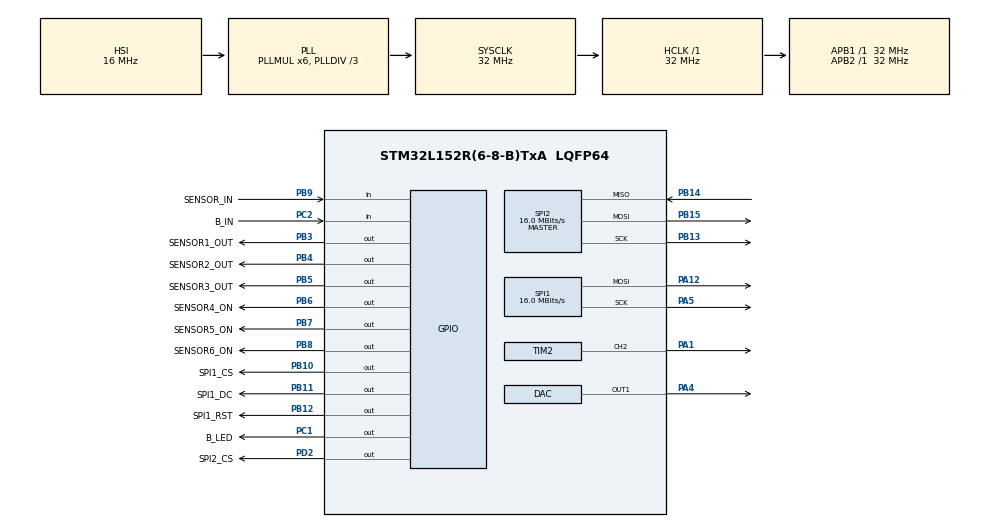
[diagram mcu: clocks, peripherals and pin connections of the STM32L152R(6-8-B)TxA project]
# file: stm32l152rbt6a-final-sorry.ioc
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DAC.DAC_Trigger=DAC_TRIGGER_T6_TRGO
Dma.DAC_CH1.1.Direction=DMA_MEMORY_TO_PERIPH
Dma.DAC_CH1.1.Instance=DMA1_Channel2
Dma.DAC_CH1.1.MemDataAlignment=DMA_MDATAALIGN_HALFWORD
Dma.DAC_CH1.1.MemInc=DMA_MINC_ENABLE
Dma.DAC_CH1.1.Mode=DMA_NORMAL
Dma.DAC_CH1.1.PeriphDataAlignment=DMA_PDATAALIGN_HALFWORD
Dma.DAC_CH1.1.PeriphInc=DMA_PINC_DISABLE
Dma.DAC_CH1.1.Priority=DMA_PRIORITY_LOW
Dma.Request0=SPI1_TX
Dma.Request1=DAC_CH1
Dma.Request2=TIM2_CH2/CH4
Dma.SPI1_TX.0.Direction=DMA_MEMORY_TO_PERIPH
Dma.SPI1_TX.0.Instance=DMA1_Channel3
Dma.SPI1_TX.0.MemDataAlignment=DMA_MDATAALIGN_BYTE
Dma.SPI1_TX.0.MemInc=DMA_MINC_ENABLE
Dma.SPI1_TX.0.Mode=DMA_NORMAL
Dma.SPI1_TX.0.PeriphDataAlignment=DMA_PDATAALIGN_BYTE
Dma.SPI1_TX.0.PeriphInc=DMA_PINC_DISABLE
Dma.SPI1_TX.0.Priority=DMA_PRIORITY_LOW
Dma.TIM2_CH2/CH4.2.Direction=DMA_MEMORY_TO_PERIPH
Dma.TIM2_CH2/CH4.2.Instance=DMA1_Channel7
Dma.TIM2_CH2/CH4.2.MemDataAlignment=DMA_MDATAALIGN_WORD
Dma.TIM2_CH2/CH4.2.MemInc=DMA_MINC_ENABLE
Dma.TIM2_CH2/CH4.2.Mode=DMA_NORMAL
Dma.TIM2_CH2/CH4.2.PeriphDataAlignment=DMA_PDATAALIGN_WORD
Dma.TIM2_CH2/CH4.2.PeriphInc=DMA_PINC_DISABLE
Dma.TIM2_CH2/CH4.2.Priority=DMA_PRIORITY_LOW
FATFS._MAX_SS=4096
FATFS._USE_LFN=1
Mcu.Family=STM32L1
Mcu.Name=STM32L152R(6-8-B)TxA
Mcu.Package=LQFP64
NVIC.DMA1_Channel2_IRQn=true\:0\:0\:false\:false\:true\:false\:true\:true
NVIC.DMA1_Channel3_IRQn=true\:0\:0\:false\:false\:true\:false\:true\:true
NVIC.DMA1_Channel7_IRQn=true\:0\:0\:false\:false\:true\:false\:true\:true
NVIC.PriorityGroup=NVIC_PRIORITYGROUP_4
NVIC.TIM7_IRQn=true\:0\:0\:false\:false\:true\:true\:true\:true
PA1.Signal=S_TIM2_CH2
PA12.Mode=TX_Only_Simplex_Unidirect_Master
PA12.Signal=SPI1_MOSI
PA13.GPIO_Label=SWDIO
PA13.Mode=Serial_Wire
PA13.Signal=SYS_JTMS-SWDIO
PA14.GPIO_Label=SWCLK
PA14.Mode=Serial_Wire
PA14.Signal=SYS_JTCK-SWCLK
PA4.Signal=COMP_DAC1_group
PA5.Mode=TX_Only_Simplex_Unidirect_Master
PA5.Signal=SPI1_SCK
PB10.GPIO_Label=SPI1_CS
PB10.Signal=GPIO_Output
PB11.GPIO_Label=SPI1_DC
PB11.Signal=GPIO_Output
PB12.GPIO_Label=SPI1_RST
PB12.Signal=GPIO_Output
PB13.Mode=Full_Duplex_Master
PB13.Signal=SPI2_SCK
PB14.Mode=Full_Duplex_Master
PB14.Signal=SPI2_MISO
PB15.Mode=Full_Duplex_Master
PB15.Signal=SPI2_MOSI
PB3.GPIO_Label=SENSOR1_OUT
PB3.Signal=GPIO_Output
PB4.GPIO_Label=SENSOR2_OUT
PB4.Signal=GPIO_Output
PB5.GPIO_Label=SENSOR3_OUT
PB5.Signal=GPIO_Output
PB6.GPIO_Label=SENSOR4_ON
PB6.Signal=GPIO_Output
PB7.GPIO_Label=SENSOR5_ON
PB7.Signal=GPIO_Output
PB8.GPIO_Label=SENSOR6_ON
PB8.Signal=GPIO_Output
PB9.GPIO_Label=SENSOR_IN
PB9.Signal=GPIO_Input
PC1.GPIO_Label=B_LED
PC1.Signal=GPIO_Output
PC2.GPIO_Label=B_IN
PC2.Signal=GPIO_Input
PD2.GPIO_Label=SPI2_CS
PD2.Signal=GPIO_Output
ProjectManager.HeapSize=0x200
ProjectManager.StackSize=0x400
ProjectManager.TargetToolchain=STM32CubeIDE
RCC.48MHZClocksFreq_Value=48000000
RCC.AHBFreq_Value=32000000
RCC.APB1Freq_Value=32000000
RCC.APB1TimFreq_Value=32000000
RCC.APB2Freq_Value=32000000
RCC.APB2TimFreq_Value=32000000
RCC.HCLKFreq_Value=32000000
RCC.HSE_VALUE=24000000
RCC.HSI_VALUE=16000000
RCC.LSE_VALUE=32768
RCC.MSI_VALUE=2097000
RCC.PLLDIV=RCC_PLL_DIV3
RCC.PLLMUL=RCC_PLL_MUL6
RCC.SYSCLKFreq_VALUE=32000000
RCC.SYSCLKSource=RCC_SYSCLKSOURCE_PLLCLK
RCC.VCOOutputFreq_Value=96000000
SH.COMP_DAC1_group.0=DAC_OUT1,DAC_OUT1
SH.S_TIM2_CH2.0=TIM2_CH2,PWM Generation2 CH2
SPI1.CalculateBaudRate=16.0 MBits/s
SPI1.Direction=SPI_DIRECTION_2LINES
SPI1.Mode=SPI_MODE_MASTER
SPI1.VirtualType=VM_MASTER
SPI2.CalculateBaudRate=16.0 MBits/s
SPI2.Direction=SPI_DIRECTION_2LINES
SPI2.Mode=SPI_MODE_MASTER
SPI2.VirtualType=VM_MASTER
TIM2.Channel-PWM\ Generation2\ CH2=TIM_CHANNEL_2
TIM2.Period=40-1
TIM6.Period=2000-1
TIM6.Prescaler=1-1
TIM6.TIM_MasterOutputTrigger=TIM_TRGO_UPDATE
TIM7.Period=500-1
TIM7.Prescaler=32000-1
VP_FATFS_VS_Generic.Mode=User_defined
VP_TIM2_VS_ClockSourceINT.Mode=Internal
VP_TIM6_VS_ClockSourceINT.Mode=Enable_Timer
VP_TIM7_VS_ClockSourceINT.Mode=Enable_Timer
board=custom

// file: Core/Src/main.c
/* USER CODE BEGIN Header */
/**
  ******************************************************************************
  * @file           : main.c
  * @brief          : Main program body
  ******************************************************************************
  * @attention
  *
  * Copyright (c) 2022 STMicroelectronics.
  * All rights reserved.
  *
  * This software is licensed under terms that can be found in the LICENSE file
  * in the root directory of this software component.
  * If no LICENSE file comes with this software, it is provided AS-IS.
  *
  ******************************************************************************
  */
/* USER CODE END Header */
#include "main.h"
#include "fatfs.h"

/* USER CODE BEGIN Includes */
//LCD and Button
#include "ILI9341_STM32_Driver.h"
#include "LCD_Button.h"
//Audio
#include "audio.h"
//LEDs
#include "LED.h"
//Game
#include "game.h"
//Standard Libraries
#include <string.h>
#include <math.h>
#include <stdio.h>
#include <stdbool.h>
/* USER CODE END Includes */

 DAC_HandleTypeDef hdac;
DMA_HandleTypeDef hdma_dac_ch1;

SPI_HandleTypeDef hspi1;
SPI_HandleTypeDef hspi2;
DMA_HandleTypeDef hdma_spi1_tx;

TIM_HandleTypeDef htim2;
TIM_HandleTypeDef htim6;
TIM_HandleTypeDef htim7;
DMA_HandleTypeDef hdma_tim2_ch2_ch4;

/* USER CODE BEGIN PV */
//Button
int count = 0;
int card = 0;
//LCD
extern const Picture *sorry_logo;
char *cards[] = {"sorry_0_16.bmp", "sorry_1_16.bmp", "sorry_2_16.bmp", "sorry_3_16.bmp", "sorry_4_16.bmp",
		            "sorry_5_16.bmp", "sorry_6_16.bmp", "sorry_7_16.bmp", "sorry_8_16.bmp", "sorry_9_16.bmp",
					"sorry_10_16.bmp"};
//SD Card
FATFS fs;
FIL fil;
FRESULT fres;
//Audio
char *audio_cards[] = {"sorry0audio.wav", "sorry1audio.wav", "sorry2audio.wav", "sorry3audio.wav", "sorry4audio.wav",
		"sorry5audio.wav", "sorry6audio.wav", "sorry7audio.wav", "sorry8audio.wav", "sorry9audio.wav", "sorry10audio.wav"};
/* USER CODE END PV */

void SystemClock_Config(void);
static void MX_GPIO_Init(void);
static void MX_DMA_Init(void);
static void MX_SPI1_Init(void);
static void MX_SPI2_Init(void);
static void MX_DAC_Init(void);
static void MX_TIM6_Init(void);
static void MX_TIM2_Init(void);
static void MX_TIM7_Init(void);

/* USER CODE BEGIN 0 */
uint16_t wav440Hz[] = {
		  0x07ff, 0x083f, 0x087e, 0x08be, 0x08fc, 0x093a, 0x0976, 0x09b1, 0x09ea, 0x0a22, 0x0a57, 0x0a89, 0x0aba, 0x0ae7, 0x0b11, 0x0b39,
		  0x0b5d, 0x0b7e, 0x0b9b, 0x0bb5, 0x0bcb, 0x0bdd, 0x0beb, 0x0bf5, 0x0bfb, 0x0bfd, 0x0bfc, 0x0bf6, 0x0bec, 0x0bde, 0x0bcd, 0x0bb7,
		  0x0b9e, 0x0b81, 0x0b61, 0x0b3d, 0x0b16, 0x0aec, 0x0abf, 0x0a8f, 0x0a5d, 0x0a28, 0x09f1, 0x09b8, 0x097d, 0x0941, 0x0903, 0x08c5,
		  0x0886, 0x0846, 0x0806, 0x07c7, 0x0787, 0x0747, 0x0709, 0x06cb, 0x068f, 0x0653, 0x061a, 0x05e3, 0x05ad, 0x057a, 0x054a, 0x051c,
		  0x04f1, 0x04c9, 0x04a5, 0x0484, 0x0466, 0x044c, 0x0436, 0x0423, 0x0415, 0x040a, 0x0403, 0x0401, 0x0402, 0x0407, 0x0411, 0x041e,
		  0x042f, 0x0444, 0x045d, 0x0479, 0x0499, 0x04bd, 0x04e3, 0x050d, 0x053a, 0x0569, 0x059c, 0x05d0, 0x0607, 0x0640, 0x067a, 0x06b6,
		  0x06f4, 0x0732, 0x0771, 0x07b1,
};

//Sensors
int array[64] = {1,1,1,1,1,1,1,1,1,1,1,1,1,1,1,1,1,1,1,1,1,1,1,1,1,1,1,1,1,1,1,1,1,1,1,1,1,1,1,1,1,1,1,1,1,1,1,1,1,1,1,1,1,1,1,1,1,1,1,1,1,1,1,1};
int answer_sensor;
//LEDs
char toggle;
int led_status;
int yes = 0;

void HAL_TIM_PeriodElapsedCallback(TIM_HandleTypeDef *htim) {
	if (htim->Instance == TIM7) {
		if (led_status == 1) {
			HAL_GPIO_TogglePin(GPIOC, GPIO_PIN_1); //blink LED
			//Send_LED();
			//yes = 2;
		} else if (led_status == 2) {
			Send_LED();
			led_status = 3;
		} else if (led_status == 3) {
			Send_LED_OFF();
			led_status = 2;
		} else if (led_status == 4) {
			Send_LED();
		}
		Increment_Count();
	}
}
/* USER CODE END 0 */

int main(void)
{

  /* MCU Configuration--------------------------------------------------------*/

  /* Reset of all peripherals, Initializes the Flash interface and the Systick. */
  HAL_Init();

  /* Configure the system clock */
  SystemClock_Config();

  /* Initialize all configured peripherals */
  MX_GPIO_Init();
  MX_DMA_Init();
  MX_SPI1_Init();
  MX_SPI2_Init();
  MX_FATFS_Init();
  MX_DAC_Init();
  MX_TIM6_Init();
  MX_TIM2_Init();
  MX_TIM7_Init();
  /* USER CODE BEGIN 2 */

  //Inits
  HAL_TIM_Base_Start(&htim6); //Audio
  HAL_TIM_Base_Start_IT(&htim7);
  //Blinking with 1Hz
  //Testing sine wave: uncomment, change to circular DMA, change sampling frequency to 44100 (726-1)
  //HAL_DAC_Start(&hdac, DAC_CHANNEL_1);
  //HAL_DAC_Start_DMA(&hdac, DAC_CHANNEL_1, (uint32_t *)wav440Hz, 100, DAC_ALIGN_12B_R); //48
  ILI9341_Init(); //LCD
  HAL_Delay(500);
  //All LEDs
  LED_Init(); //WS2812B
  led_status = 0; //Push Button

  //Setup logo
  ILI9341_SetRotation(SCREEN_HORIZONTAL_2);
  ILI9341_FillScreen(WHITE);
  ILI9341_DrawPicture(10,75,(const Picture *)&sorry_logo);
  Button_Wait(BLACK, WHITE);

  //Game
  int turn;
  /*
  int pawns[4][4] = {{44, 45, 46, 47},
                     {44, 45, 46, 47},
                     {44, 45, 46, 47},
                     {44, 45, 46, 47}};
*/
  extern int pawns[4][4];
  extern pawn_t pawns_init[4];
  extern bool endgame;
  extern bool done[4];
  int start[4] = {4, 4, 4, 4};
  int home[4]  = {0, 0, 0, 0};
  int colorlcd[4] = {RED, YELLOW, GREEN, BLUE};
  extern int led[64];
  extern int led_num;
  int test_num = 0;
  int test[16] = {1, 2, 1, 2, 6, 6, 6, 6};

  turn = 0;
  initialize_board();
  populate_led_array();
  led_status = 4;
  Audio_Card("sorry_bump.wav");
  /* USER CODE END 2 */

  /* Infinite loop */
  /* USER CODE BEGIN WHILE */
  while (1)
  {
	  //Sensor
	  //answer_sensor = change_det(array);
	  ILI9341_FillScreen(colorlcd[turn]);
	  HAL_Delay(250);
	  Button_Wait(BLACK, colorlcd[turn]);
	  //card = Generate_Random();
	  card = test[test_num];
	  Display_Card(cards[card]);
	  Audio_Card(audio_cards[card]);
	  //int check_seven = 0;

begin:
	zero_led(0);
	led_num = 0;
	int curr_loc;
	curr_loc = 0;
	//Populate array with current pawn positions
	    for (int i = 0; i < 4; i++) {
	        led[led_num] = pawns[i][turn];
	        led_num++;
	    }
	//Populate array with possible pawn positions
	if (card == 1 || card == 2) {
        if (start[turn] != 0 && !pos_occ(pawns_init[turn].after_start, turn)) {
            led[led_num] = pawns_init[turn].after_start;
            led_num++;
        }
    }
    if (card == 1 || card == 2 || card == 3 || card == 5 || card == 8 || card == 9) {
        increment_card(card, curr_loc, turn);
    } else if (card == 4) {
        decrement_card(card, curr_loc, turn);
    } else if (card == 10) {
        increment_card(card, curr_loc, turn);
        decrement_card(1, curr_loc, turn); //backwards 1
    } else if (card == 0) { //sorry card
    	if (start[turn] == 0)
    		break;
    	for (int i = 0; i < 4; i++) {
    	   if (i == turn)
    	      continue;
         	for (int j = 0; j < 4; j++) {
    	      if (pawns[j][i] <= 43 && pawns[j][i] >= 0) {
    	    	led[led_num++] = pawns[j][i];
    	      }
    	    }
    	}
    } else if (card == 6 && start[turn] != 4) {
    	increment_card(card, curr_loc, turn);
    	for (int i = 0; i < 4; i++) {
    	    if (i == turn)
    	    	 continue;
    	    for (int j = 0; j < 4; j++) {
    	    	 if (pawns[j][i] <= 43 && pawns[j][i] >= 0) {
    	    	   	led[led_num++] = pawns[j][i];
    	         }
      	    }
       	}
    } else if (card == 7 && start[turn] != 4) {
    	/*
    	if (start[turn] == 3) //1 pawn is out
    		increment(card, curr_loc, turn);
    	else if (start[turn] == 2) { //more than two pawns are out
    		for (int j = 0)
    	}*/
    }

    //No possible moves
    if (led_num == 4) {
    	Audio_Card("nomoves.wav");
        goto next_turn;
    }

    //Display LEDs
    print_led(led_num, turn);

    int change;
    int put_back;
    //Wait for pawn to be lifted
move_pawn:
    change = change_det(array);

    //Check valid sensor
    if (!valid_lift(change)) {
wrong_put_back:
		Audio_Card("incorrectmove.wav");
		HAL_Delay(500);
        //Place pawn back
put_pawn_back:
        put_back = change_det(array);
        if (put_back != change)
            goto wrong_put_back;
        else
            goto move_pawn;
    }

    //Check which pawn moved
    int pawn_change;
    for (pawn_change = 0; pawn_change < 4; pawn_change++) {
        if (pawns[pawn_change][turn] == change)
            break;
    }

 lift:
        //Display possible positions for only that pawn
        if (card == 1 || card == 2 || card == 3 || card == 5 || card == 8 || card == 9 || card == 6) {
            zero_led(5);
            led_num = 5;
            if (change == pawns_init[turn].start) {
                if (!pos_occ(pawns_init[turn].after_start, turn) && (card == 1 || card == 2))
                    led[4] = pawns_init[turn].after_start;
                else {
                    led_num = 4;
                    print_led(led_num, turn);
                    goto put_pawn_back;
                }
            } else if ((change >= (pawns_init[turn].before_stretch-(card-1))) && (change <= (pawns_init[turn].before_stretch)) && !pos_occ(change+pawns_init[turn].start_stretch-pawns_init[turn].before_stretch+(card-1), turn)) {
                led[4] = change+pawns_init[turn].start_stretch-pawns_init[turn].before_stretch+(card-1);
            } else if ((change >= (44-card) && change <= 43) && !pos_occ(change-(44-card), turn)) {
                led[4] = change-(44-card);
            } else if (!pos_occ(change+card, turn)) {
                led[4] = change+card;
            } else
                led_num = 4;

            if (card == 6) {
            	for (int i = 0; i < 4; i++) {
            	    if (i == turn)
            	      continue;
            	   	for (int j = 0; j < 4; j++) {
               	      if (pawns[j][i] <= 43 && pawns[j][i] >= 0) {
            	    	led[led_num++] = pawns[j][i];
        	   	      }
         	   	    }
       	    	}
            }
        } else if (card == 4) {
            zero_led(4);
            led_num = 4;
            if (change == pawns_init[turn].start) {
                print_led(led_num, turn);
                goto put_pawn_back;
            } else if ((change >= 0 && change < card)) {
                if (!pos_occ(change+(44-card), turn))
                    led[led_num++] = change+(44-card);
            } else if ((change >= (pawns_init[turn].start_stretch)) && (change < (pawns_init[turn].home))) {
                if (!pos_occ(change+pawns_init[turn].before_stretch-pawns_init[turn].start_stretch-(card-1), turn))
                    led[led_num++] = change+pawns_init[turn].start_stretch-pawns_init[turn].before_stretch+(card-1);
            } else if (!pos_occ(change-card, turn)) {
                led[led_num++] = change-card;
            }
        } else if (card == 10) {
            zero_led(4);
            led_num = 4;
            if (change == pawns_init[turn].start) {
                led_num = 4;
                print_led(led_num, turn);
                goto put_pawn_back;
            } else if ((change >= (pawns_init[turn].before_stretch-(card-1))) && (change <= (pawns_init[turn].before_stretch)) && !pos_occ(change+pawns_init[turn].start_stretch-pawns_init[turn].before_stretch+(card-1), turn)) { //Forward 10
                led[led_num] = change+pawns_init[turn].start_stretch-pawns_init[turn].before_stretch+(card-1);
                led_num++;
            } else if ((change >= (44-card) && change <= 43) && !pos_occ(change-(44-card), turn)) {
                led[led_num] = change-(44-card);
                led_num++;
            } else if (!pos_occ(change+card, turn)) {
                led[led_num] = change+card;
                led_num++;
            }
            //Backward 1
            if ((change >= (pawns_init[turn].start_stretch)) && (change < (pawns_init[turn].home)) && !pos_occ(change+pawns_init[turn].before_stretch-pawns_init[turn].start_stretch-(1-1), turn)) {
                led[led_num++] = change+pawns_init[turn].start_stretch-pawns_init[turn].before_stretch+(1-1);
            } else if ((change >= 0 && change < 1) && !pos_occ(change+(44-1), turn)) {
                led[led_num++] = change+(44-1);
            } else if (!pos_occ(change-1, turn)) {
                led[led_num++] = change-1;
            }
        }

        print_led(led_num, turn);

        //Wait for pawn to be placed
        int next_change;
        next_change = change_det(array);

        //Check if pawn moved pack from where it was placed
        if (change == next_change) {
           zero_led(4);
           goto begin;
        }
        //Check for valid play
            bool in_arr = false;
            int i;
            for (i = 4; i < led_num; i++) {
                if (led[i] == next_change) {
                    in_arr = true;
                    break;
                }
            }
            if (!in_arr) {
                Audio_Card("incorrectmove.wav");
                goto lift;
            } else if (card == 6 && !((next_change == change-(44-card)) || (next_change == change+pawns_init[turn].start_stretch-pawns_init[turn].before_stretch+(card-1))
            		                   || (next_change == change+card))) { //check if pawn moved home: assume if move 6 overlaps with diff pawn, then assume it goes home and not change
            	HAL_Delay(1000);
            	HAL_Delay(1000);
            	HAL_Delay(1000);
            	int check_change;
six:
            	check_change = change_det(array); //wait for opponent pawn to move to current player pos.
            	if (check_change != change) {
            		Audio_Card("incorrectmove.wav");
            		HAL_Delay(500);
            		goto six;
            	}
            	for (int i = 0; i < 4; i++) {
            	   if (i == turn)
            	     continue;
            	   for (int j = 0; j < 4; j++) {
            	     if (pawns[j][i] == next_change) {
            	    	pawns[j][i] = pawns[pawn_change][turn];
             			break;
            	     }
            	  }
            	}
            	pawns[pawn_change][turn] = led[i];
            	HAL_Delay(1000);
            	HAL_Delay(1000);
            	HAL_Delay(1000);
            } else {
                if (pawns[pawn_change][turn] == pawns_init[turn].start)
                    start[turn]--;
                //check if bumped back;
                for (int i = 0; i < 4; i++) {
                	if (i == turn)
                		continue;
                	for (int j = 0; j < 4; j++) {
                		if (pawns[j][i] == next_change) {
                			pawns[j][i] = pawns_init[i].start;
                			start[i]++;
                			Audio_Card("sorry_bump.wav");
                			HAL_Delay(1000);
                			break;
                		}
                	}
                }
                pawns[pawn_change][turn] = led[i];
            }

            if (led[i] == pawns_init[turn].home) {
            	Audio_Card("yourehome.wav");
                home[turn]++;
                if (home[turn] == 4) {
                	done[turn] =  true;
                	Audio_Card("youwin.wav");
                }
            }

      next_turn:
          turn = update_turn(turn);

          populate_led_array();
          //print_led(led_num);
          led_status = 4;
          if (test_num == 7)
        	  test_num = 0;
          else
        	  test_num++;

      if (endgame) {
    	  ILI9341_FillScreen(BLACK);
    	  break;
      }
    /* USER CODE END WHILE */

  }
}

void SystemClock_Config(void)
{
  RCC_OscInitTypeDef RCC_OscInitStruct = {0};
  RCC_ClkInitTypeDef RCC_ClkInitStruct = {0};

  /** Configure the main internal regulator output voltage
  */
  __HAL_PWR_VOLTAGESCALING_CONFIG(PWR_REGULATOR_VOLTAGE_SCALE1);

  /** Initializes the RCC Oscillators according to the specified parameters
  * in the RCC_OscInitTypeDef structure.
  */
  RCC_OscInitStruct.OscillatorType = RCC_OSCILLATORTYPE_HSI;
  RCC_OscInitStruct.HSIState = RCC_HSI_ON;
  RCC_OscInitStruct.HSICalibrationValue = RCC_HSICALIBRATION_DEFAULT;
  RCC_OscInitStruct.PLL.PLLState = RCC_PLL_ON;
  RCC_OscInitStruct.PLL.PLLSource = RCC_PLLSOURCE_HSI;
  RCC_OscInitStruct.PLL.PLLMUL = RCC_PLL_MUL6;
  RCC_OscInitStruct.PLL.PLLDIV = RCC_PLL_DIV3;
  if (HAL_RCC_OscConfig(&RCC_OscInitStruct) != HAL_OK)
  {
    Error_Handler();
  }

  /** Initializes the CPU, AHB and APB buses clocks
  */
  RCC_ClkInitStruct.ClockType = RCC_CLOCKTYPE_HCLK|RCC_CLOCKTYPE_SYSCLK
                              |RCC_CLOCKTYPE_PCLK1|RCC_CLOCKTYPE_PCLK2;
  RCC_ClkInitStruct.SYSCLKSource = RCC_SYSCLKSOURCE_PLLCLK;
  RCC_ClkInitStruct.AHBCLKDivider = RCC_SYSCLK_DIV1;
  RCC_ClkInitStruct.APB1CLKDivider = RCC_HCLK_DIV1;
  RCC_ClkInitStruct.APB2CLKDivider = RCC_HCLK_DIV1;

  if (HAL_RCC_ClockConfig(&RCC_ClkInitStruct, FLASH_LATENCY_1) != HAL_OK)
  {
    Error_Handler();
  }
}

static void MX_DAC_Init(void)
{

  DAC_ChannelConfTypeDef sConfig = {0};

  /** DAC Initialization
  */
  hdac.Instance = DAC;
  if (HAL_DAC_Init(&hdac) != HAL_OK)
  {
    Error_Handler();
  }

  /** DAC channel OUT1 config
  */
  sConfig.DAC_Trigger = DAC_TRIGGER_T6_TRGO;
  sConfig.DAC_OutputBuffer = DAC_OUTPUTBUFFER_ENABLE;
  if (HAL_DAC_ConfigChannel(&hdac, &sConfig, DAC_CHANNEL_1) != HAL_OK)
  {
    Error_Handler();
  }

}

static void MX_SPI1_Init(void)
{

  /* SPI1 parameter configuration*/
  hspi1.Instance = SPI1;
  hspi1.Init.Mode = SPI_MODE_MASTER;
  hspi1.Init.Direction = SPI_DIRECTION_2LINES;
  hspi1.Init.DataSize = SPI_DATASIZE_8BIT;
  hspi1.Init.NSS = SPI_NSS_SOFT;
  hspi1.Init.BaudRatePrescaler = SPI_BAUDRATEPRESCALER_2;
  hspi1.Init.CRCCalculation = SPI_CRCCALCULATION_DISABLE;
  hspi1.Init.CRCPolynomial = 10;
  if (HAL_SPI_Init(&hspi1) != HAL_OK)
  {
    Error_Handler();
  }

}

static void MX_SPI2_Init(void)
{

  /* SPI2 parameter configuration*/
  hspi2.Instance = SPI2;
  hspi2.Init.Mode = SPI_MODE_MASTER;
  hspi2.Init.Direction = SPI_DIRECTION_2LINES;
  hspi2.Init.DataSize = SPI_DATASIZE_8BIT;
  hspi2.Init.NSS = SPI_NSS_SOFT;
  hspi2.Init.BaudRatePrescaler = SPI_BAUDRATEPRESCALER_2;
  hspi2.Init.CRCCalculation = SPI_CRCCALCULATION_DISABLE;
  hspi2.Init.CRCPolynomial = 10;
  if (HAL_SPI_Init(&hspi2) != HAL_OK)
  {
    Error_Handler();
  }

}

static void MX_TIM2_Init(void)
{

  TIM_ClockConfigTypeDef sClockSourceConfig = {0};
  TIM_MasterConfigTypeDef sMasterConfig = {0};
  TIM_OC_InitTypeDef sConfigOC = {0};

  htim2.Instance = TIM2;
  htim2.Init.Prescaler = 0;
  htim2.Init.CounterMode = TIM_COUNTERMODE_UP;
  htim2.Init.Period = 40-1;
  htim2.Init.ClockDivision = TIM_CLOCKDIVISION_DIV1;
  htim2.Init.AutoReloadPreload = TIM_AUTORELOAD_PRELOAD_DISABLE;
  if (HAL_TIM_Base_Init(&htim2) != HAL_OK)
  {
    Error_Handler();
  }
  sClockSourceConfig.ClockSource = TIM_CLOCKSOURCE_INTERNAL;
  if (HAL_TIM_ConfigClockSource(&htim2, &sClockSourceConfig) != HAL_OK)
  {
    Error_Handler();
  }
  if (HAL_TIM_PWM_Init(&htim2) != HAL_OK)
  {
    Error_Handler();
  }
  sMasterConfig.MasterOutputTrigger = TIM_TRGO_RESET;
  sMasterConfig.MasterSlaveMode = TIM_MASTERSLAVEMODE_DISABLE;
  if (HAL_TIMEx_MasterConfigSynchronization(&htim2, &sMasterConfig) != HAL_OK)
  {
    Error_Handler();
  }
  sConfigOC.OCMode = TIM_OCMODE_PWM1;
  sConfigOC.Pulse = 0;
  sConfigOC.OCPolarity = TIM_OCPOLARITY_HIGH;
  sConfigOC.OCFastMode = TIM_OCFAST_DISABLE;
  if (HAL_TIM_PWM_ConfigChannel(&htim2, &sConfigOC, TIM_CHANNEL_2) != HAL_OK)
  {
    Error_Handler();
  }
  HAL_TIM_MspPostInit(&htim2);

}

static void MX_TIM6_Init(void)
{

  TIM_MasterConfigTypeDef sMasterConfig = {0};

  htim6.Instance = TIM6;
  htim6.Init.Prescaler = 1-1;
  htim6.Init.CounterMode = TIM_COUNTERMODE_UP;
  htim6.Init.Period = 2000-1;
  htim6.Init.AutoReloadPreload = TIM_AUTORELOAD_PRELOAD_DISABLE;
  if (HAL_TIM_Base_Init(&htim6) != HAL_OK)
  {
    Error_Handler();
  }
  sMasterConfig.MasterOutputTrigger = TIM_TRGO_UPDATE;
  sMasterConfig.MasterSlaveMode = TIM_MASTERSLAVEMODE_DISABLE;
  if (HAL_TIMEx_MasterConfigSynchronization(&htim6, &sMasterConfig) != HAL_OK)
  {
    Error_Handler();
  }

}

static void MX_TIM7_Init(void)
{

  TIM_MasterConfigTypeDef sMasterConfig = {0};

  htim7.Instance = TIM7;
  htim7.Init.Prescaler = 32000-1;
  htim7.Init.CounterMode = TIM_COUNTERMODE_UP;
  htim7.Init.Period = 500-1;
  htim7.Init.AutoReloadPreload = TIM_AUTORELOAD_PRELOAD_DISABLE;
  if (HAL_TIM_Base_Init(&htim7) != HAL_OK)
  {
    Error_Handler();
  }
  sMasterConfig.MasterOutputTrigger = TIM_TRGO_RESET;
  sMasterConfig.MasterSlaveMode = TIM_MASTERSLAVEMODE_DISABLE;
  if (HAL_TIMEx_MasterConfigSynchronization(&htim7, &sMasterConfig) != HAL_OK)
  {
    Error_Handler();
  }

}

static void MX_DMA_Init(void)
{

  /* DMA controller clock enable */
  __HAL_RCC_DMA1_CLK_ENABLE();

  /* DMA interrupt init */
  /* DMA1_Channel2_IRQn interrupt configuration */
  HAL_NVIC_SetPriority(DMA1_Channel2_IRQn, 0, 0);
  HAL_NVIC_EnableIRQ(DMA1_Channel2_IRQn);
  /* DMA1_Channel3_IRQn interrupt configuration */
  HAL_NVIC_SetPriority(DMA1_Channel3_IRQn, 0, 0);
  HAL_NVIC_EnableIRQ(DMA1_Channel3_IRQn);
  /* DMA1_Channel7_IRQn interrupt configuration */
  HAL_NVIC_SetPriority(DMA1_Channel7_IRQn, 0, 0);
  HAL_NVIC_EnableIRQ(DMA1_Channel7_IRQn);

}

static void MX_GPIO_Init(void)
{
  GPIO_InitTypeDef GPIO_InitStruct = {0};

  /* GPIO Ports Clock Enable */
  __HAL_RCC_GPIOC_CLK_ENABLE();
  __HAL_RCC_GPIOA_CLK_ENABLE();
  __HAL_RCC_GPIOB_CLK_ENABLE();
  __HAL_RCC_GPIOD_CLK_ENABLE();

  /*Configure GPIO pin Output Level */
  HAL_GPIO_WritePin(B_LED_GPIO_Port, B_LED_Pin, GPIO_PIN_RESET);

  /*Configure GPIO pin Output Level */
  HAL_GPIO_WritePin(GPIOB, SPI1_CS_Pin|SPI1_DC_Pin|SPI1_RST_Pin|SENSOR1_OUT_Pin
                          |SENSOR2_OUT_Pin|SENSOR3_OUT_Pin|SENSOR4_ON_Pin|SENSOR5_ON_Pin
                          |SENSOR6_ON_Pin, GPIO_PIN_RESET);

  /*Configure GPIO pin Output Level */
  HAL_GPIO_WritePin(SPI2_CS_GPIO_Port, SPI2_CS_Pin, GPIO_PIN_RESET);

  /*Configure GPIO pin : B_LED_Pin */
  GPIO_InitStruct.Pin = B_LED_Pin;
  GPIO_InitStruct.Mode = GPIO_MODE_OUTPUT_PP;
  GPIO_InitStruct.Pull = GPIO_NOPULL;
  GPIO_InitStruct.Speed = GPIO_SPEED_FREQ_LOW;
  HAL_GPIO_Init(B_LED_GPIO_Port, &GPIO_InitStruct);

  /*Configure GPIO pin : B_IN_Pin */
  GPIO_InitStruct.Pin = B_IN_Pin;
  GPIO_InitStruct.Mode = GPIO_MODE_INPUT;
  GPIO_InitStruct.Pull = GPIO_NOPULL;
  HAL_GPIO_Init(B_IN_GPIO_Port, &GPIO_InitStruct);

  /*Configure GPIO pins : SPI1_CS_Pin SPI1_DC_Pin SPI1_RST_Pin SENSOR1_OUT_Pin
                           SENSOR2_OUT_Pin SENSOR3_OUT_Pin SENSOR4_ON_Pin SENSOR5_ON_Pin
                           SENSOR6_ON_Pin */
  GPIO_InitStruct.Pin = SPI1_CS_Pin|SPI1_DC_Pin|SPI1_RST_Pin|SENSOR1_OUT_Pin
                          |SENSOR2_OUT_Pin|SENSOR3_OUT_Pin|SENSOR4_ON_Pin|SENSOR5_ON_Pin
                          |SENSOR6_ON_Pin;
  GPIO_InitStruct.Mode = GPIO_MODE_OUTPUT_PP;
  GPIO_InitStruct.Pull = GPIO_NOPULL;
  GPIO_InitStruct.Speed = GPIO_SPEED_FREQ_LOW;
  HAL_GPIO_Init(GPIOB, &GPIO_InitStruct);

  /*Configure GPIO pin : SPI2_CS_Pin */
  GPIO_InitStruct.Pin = SPI2_CS_Pin;
  GPIO_InitStruct.Mode = GPIO_MODE_OUTPUT_PP;
  GPIO_InitStruct.Pull = GPIO_NOPULL;
  GPIO_InitStruct.Speed = GPIO_SPEED_FREQ_LOW;
  HAL_GPIO_Init(SPI2_CS_GPIO_Port, &GPIO_InitStruct);

  /*Configure GPIO pin : SENSOR_IN_Pin */
  GPIO_InitStruct.Pin = SENSOR_IN_Pin;
  GPIO_InitStruct.Mode = GPIO_MODE_INPUT;
  GPIO_InitStruct.Pull = GPIO_NOPULL;
  HAL_GPIO_Init(SENSOR_IN_GPIO_Port, &GPIO_InitStruct);

}

void Error_Handler(void)
{
  __disable_irq();
  while (1)
  {
  }
}
